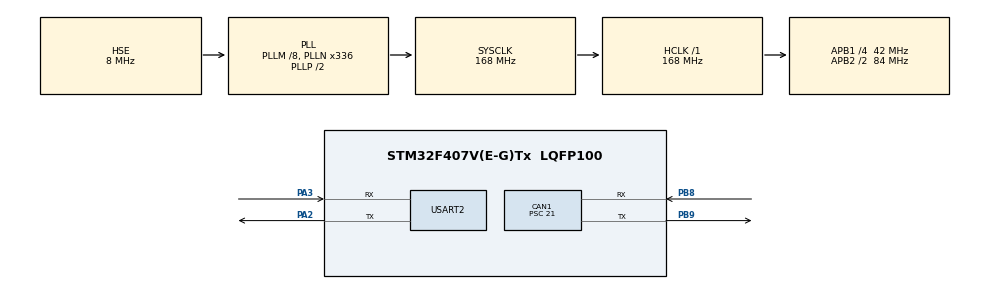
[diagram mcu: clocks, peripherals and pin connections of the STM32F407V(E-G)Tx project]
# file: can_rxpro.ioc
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CAN1.BS1=CAN_BS1_2TQ
CAN1.CalculateBaudRate=500000
CAN1.CalculateTimeBit=2000
CAN1.CalculateTimeQuantum=500.0
CAN1.Prescaler=21
Mcu.Family=STM32F4
Mcu.Name=STM32F407V(E-G)Tx
Mcu.Package=LQFP100
NVIC.CAN1_RX0_IRQn=true\:0\:0\:false\:false\:true\:true\:true\:true
NVIC.PriorityGroup=NVIC_PRIORITYGROUP_0
PA2.Mode=Asynchronous
PA2.Signal=USART2_TX
PA3.Mode=Asynchronous
PA3.Signal=USART2_RX
PB8.Mode=CAN_Activate
PB8.Signal=CAN1_RX
PB9.Mode=CAN_Activate
PB9.Signal=CAN1_TX
PH0-OSC_IN.Mode=HSE-External-Oscillator
PH0-OSC_IN.Signal=RCC_OSC_IN
PH1-OSC_OUT.Mode=HSE-External-Oscillator
PH1-OSC_OUT.Signal=RCC_OSC_OUT
ProjectManager.HeapSize=0x200
ProjectManager.StackSize=0x400
ProjectManager.TargetToolchain=STM32CubeIDE
RCC.48MHZClocksFreq_Value=48000000
RCC.AHBFreq_Value=168000000
RCC.APB1CLKDivider=RCC_HCLK_DIV4
RCC.APB1Freq_Value=42000000
RCC.APB1TimFreq_Value=84000000
RCC.APB2CLKDivider=RCC_HCLK_DIV2
RCC.APB2Freq_Value=84000000
RCC.APB2TimFreq_Value=168000000
RCC.CortexFreq_Value=168000000
RCC.HCLKFreq_Value=168000000
RCC.HSE_VALUE=8000000
RCC.HSI_VALUE=16000000
RCC.LSE_VALUE=32768
RCC.PLLM=8
RCC.PLLN=336
RCC.PLLQ=7
RCC.PLLSourceVirtual=RCC_PLLSOURCE_HSE
RCC.SYSCLKFreq_VALUE=168000000
RCC.SYSCLKSource=RCC_SYSCLKSOURCE_PLLCLK
RCC.VCOOutputFreq_Value=336000000
USART2.VirtualMode=VM_ASYNC
board=STM32F407G-DISC1

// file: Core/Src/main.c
/* USER CODE BEGIN Header */
/**
 ******************************************************************************
 * @file           : main.c
 * @brief          : Main program body
 ******************************************************************************
 * @attention
 *
 * Copyright (c) 2025 STMicroelectronics.
 * All rights reserved.
 *
 * This software is licensed under terms that can be found in the LICENSE file
 * in the root directory of this software component.
 * If no LICENSE file comes with this software, it is provided AS-IS.
 *
 ******************************************************************************
 */
/* USER CODE END Header */
#include "main.h"

/* USER CODE BEGIN Includes */
#include <stdio.h>
#include <string.h>
/* USER CODE END Includes */

CAN_HandleTypeDef hcan1;

UART_HandleTypeDef huart2;

/* USER CODE BEGIN PV */
/* USER CODE BEGIN 0 */
CAN_RxHeaderTypeDef RxHeader;
uint8_t RxData[8];
char str[50];
/* USER CODE END PV */

void SystemClock_Config(void);
static void MX_GPIO_Init(void);
static void MX_CAN1_Init(void);
static void MX_USART2_UART_Init(void);

/* USER CODE BEGIN 0 */
CAN_RxHeaderTypeDef RxHeader;
uint8_t RxData[8];
char str[50];
/* USER CODE END PV */

/* Private function prototypes -----------------------------------------------*/
void SystemClock_Config(void);
static void MX_GPIO_Init(void);
static void MX_CAN1_Init(void);
static void MX_USART2_UART_Init(void);
/* USER CODE BEGIN PFP */

/* USER CODE END PFP */

/* Private user code ---------------------------------------------------------*/
/* USER CODE BEGIN 0 */

void CAN_receiveData() {

	switch (RxHeader.StdId) {

	case 0x0A9:
		sprintf(str, "Ultrasonic=%d",(uint16_t)(RxData[1]<<8)|RxData[0]);
		HAL_UART_Transmit(&huart2, (uint8_t*) str, strlen(str), HAL_MAX_DELAY);
		HAL_Delay(500);

		break;

	case 0x0AA:
		sprintf(str, "Rain=%d\r\n",(uint16_t)(RxData[1]<<8)|RxData[0]);
		HAL_UART_Transmit(&huart2, (uint8_t*) str, strlen(str), HAL_MAX_DELAY);
		HAL_Delay(500);

		break;

	case 0x0AB:

		sprintf(str, "Temperature=%d\r\n",(uint16_t)(RxData[1]<<8)|RxData[0]);
		HAL_UART_Transmit(&huart2, (uint8_t*) str, strlen(str), HAL_MAX_DELAY);
		HAL_Delay(500);
		break;

	default:

		break;

	}

}
void HAL_CAN_RxFifo0MsgPendingCallback(CAN_HandleTypeDef *hcan) {
	HAL_CAN_GetRxMessage(&hcan1, CAN_RX_FIFO0, &RxHeader, RxData);
	CAN_receiveData();
}

/* USER CODE END 0 */

int main(void)
{

  /* MCU Configuration--------------------------------------------------------*/

  /* Reset of all peripherals, Initializes the Flash interface and the Systick. */
  HAL_Init();

  /* USER CODE BEGIN Init */
	HAL_CAN_Start(&hcan1);
	HAL_CAN_ActivateNotification(&hcan1, CAN_IT_RX_FIFO0_MSG_PENDING);

	HAL_Delay(100);
	HAL_Delay(100);

  /* USER CODE END Init */

  /* Configure the system clock */
  SystemClock_Config();

  /* Initialize all configured peripherals */
  MX_GPIO_Init();
  MX_CAN1_Init();
  MX_USART2_UART_Init();

  /* Infinite loop */
	while (1) {

    /* USER CODE BEGIN 3 */
		CAN_receiveData();
	}
  /* USER CODE END 3 */
}

void SystemClock_Config(void)
{
  RCC_OscInitTypeDef RCC_OscInitStruct = {0};
  RCC_ClkInitTypeDef RCC_ClkInitStruct = {0};

  /** Configure the main internal regulator output voltage
  */
  __HAL_RCC_PWR_CLK_ENABLE();
  __HAL_PWR_VOLTAGESCALING_CONFIG(PWR_REGULATOR_VOLTAGE_SCALE1);

  /** Initializes the RCC Oscillators according to the specified parameters
  * in the RCC_OscInitTypeDef structure.
  */
  RCC_OscInitStruct.OscillatorType = RCC_OSCILLATORTYPE_HSE;
  RCC_OscInitStruct.HSEState = RCC_HSE_ON;
  RCC_OscInitStruct.PLL.PLLState = RCC_PLL_ON;
  RCC_OscInitStruct.PLL.PLLSource = RCC_PLLSOURCE_HSE;
  RCC_OscInitStruct.PLL.PLLM = 8;
  RCC_OscInitStruct.PLL.PLLN = 336;
  RCC_OscInitStruct.PLL.PLLP = RCC_PLLP_DIV2;
  RCC_OscInitStruct.PLL.PLLQ = 7;
  if (HAL_RCC_OscConfig(&RCC_OscInitStruct) != HAL_OK)
  {
    Error_Handler();
  }

  /** Initializes the CPU, AHB and APB buses clocks
  */
  RCC_ClkInitStruct.ClockType = RCC_CLOCKTYPE_HCLK|RCC_CLOCKTYPE_SYSCLK
                              |RCC_CLOCKTYPE_PCLK1|RCC_CLOCKTYPE_PCLK2;
  RCC_ClkInitStruct.SYSCLKSource = RCC_SYSCLKSOURCE_PLLCLK;
  RCC_ClkInitStruct.AHBCLKDivider = RCC_SYSCLK_DIV1;
  RCC_ClkInitStruct.APB1CLKDivider = RCC_HCLK_DIV4;
  RCC_ClkInitStruct.APB2CLKDivider = RCC_HCLK_DIV2;

  if (HAL_RCC_ClockConfig(&RCC_ClkInitStruct, FLASH_LATENCY_5) != HAL_OK)
  {
    Error_Handler();
  }
}

static void MX_CAN1_Init(void)
{

  hcan1.Instance = CAN1;
  hcan1.Init.Prescaler = 21;
  hcan1.Init.Mode = CAN_MODE_NORMAL;
  hcan1.Init.SyncJumpWidth = CAN_SJW_1TQ;
  hcan1.Init.TimeSeg1 = CAN_BS1_2TQ;
  hcan1.Init.TimeSeg2 = CAN_BS2_1TQ;
  hcan1.Init.TimeTriggeredMode = DISABLE;
  hcan1.Init.AutoBusOff = DISABLE;
  hcan1.Init.AutoWakeUp = DISABLE;
  hcan1.Init.AutoRetransmission = DISABLE;
  hcan1.Init.ReceiveFifoLocked = DISABLE;
  hcan1.Init.TransmitFifoPriority = DISABLE;
  if (HAL_CAN_Init(&hcan1) != HAL_OK)
  {
    Error_Handler();
  }
  /* USER CODE BEGIN CAN1_Init 2 */
	CAN_FilterTypeDef canFilterConfig;

	canFilterConfig.FilterActivation = CAN_FILTER_ENABLE;
	canFilterConfig.SlaveStartFilterBank = 14; // Master filters: 0-13, Slave filters: 14-27
	canFilterConfig.FilterBank = 2; // Filter number to be initialized (should be from 0 to SlaveStartFilterBank-1)
	canFilterConfig.FilterFIFOAssignment = CAN_RX_FIFO0;
	canFilterConfig.FilterScale = CAN_FILTERSCALE_32BIT;
	canFilterConfig.FilterMode = CAN_FILTERMODE_IDMASK;
	canFilterConfig.FilterMaskIdLow = 0x0000;
	canFilterConfig.FilterMaskIdHigh = 0xFF00;
	canFilterConfig.FilterIdLow = 0x0000;
	canFilterConfig.FilterIdHigh = 0x1500; // (0x0A8 << 5)

	HAL_CAN_ConfigFilter(&hcan1, &canFilterConfig);
  /* USER CODE END CAN1_Init 2 */

}

static void MX_USART2_UART_Init(void)
{

  huart2.Instance = USART2;
  huart2.Init.BaudRate = 115200;
  huart2.Init.WordLength = UART_WORDLENGTH_8B;
  huart2.Init.StopBits = UART_STOPBITS_1;
  huart2.Init.Parity = UART_PARITY_NONE;
  huart2.Init.Mode = UART_MODE_TX_RX;
  huart2.Init.HwFlowCtl = UART_HWCONTROL_NONE;
  huart2.Init.OverSampling = UART_OVERSAMPLING_16;
  if (HAL_UART_Init(&huart2) != HAL_OK)
  {
    Error_Handler();
  }

}

static void MX_GPIO_Init(void)
{

  /* GPIO Ports Clock Enable */
  __HAL_RCC_GPIOH_CLK_ENABLE();
  __HAL_RCC_GPIOA_CLK_ENABLE();
  __HAL_RCC_GPIOB_CLK_ENABLE();

}

void Error_Handler(void)
{
	__disable_irq();
	while (1) {
	}
}
